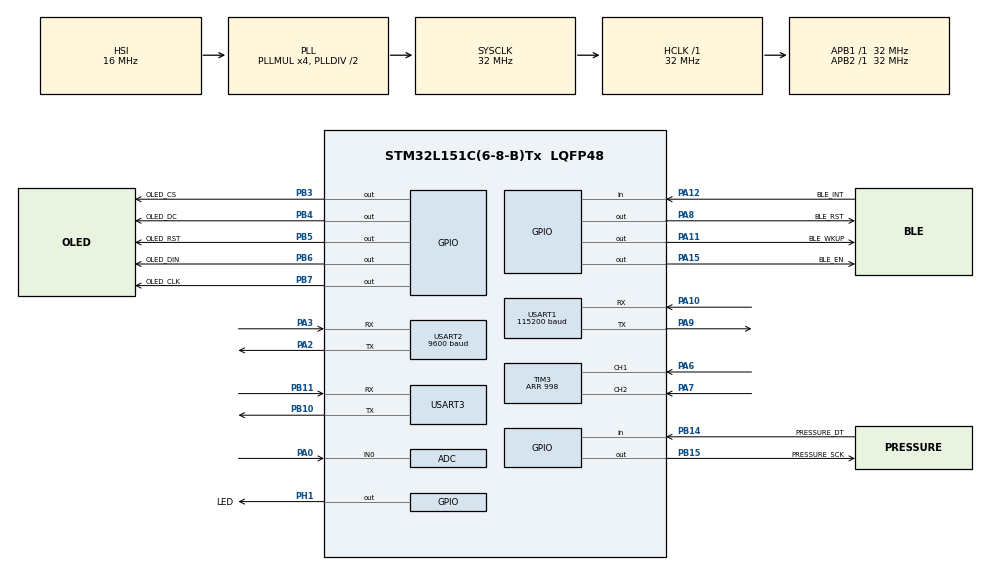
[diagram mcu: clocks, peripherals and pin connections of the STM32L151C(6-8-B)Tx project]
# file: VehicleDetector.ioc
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ADC.Channel-0\#ChannelRegularConversion=ADC_CHANNEL_0
ADC.ClockPrescaler=ADC_CLOCK_ASYNC_DIV2
ADC.ContinuousConvMode=ENABLE
ADC.DMAContinuousRequests=DISABLE
ADC.NbrOfConversionFlag=1
ADC.Rank-0\#ChannelRegularConversion=1
ADC.SamplingTime-0\#ChannelRegularConversion=ADC_SAMPLETIME_384CYCLES
ADC.ScanConvMode=ADC_SCAN_ENABLE
Dma.ADC.0.Direction=DMA_PERIPH_TO_MEMORY
Dma.ADC.0.Instance=DMA1_Channel1
Dma.ADC.0.MemDataAlignment=DMA_MDATAALIGN_HALFWORD
Dma.ADC.0.MemInc=DMA_MINC_ENABLE
Dma.ADC.0.Mode=DMA_NORMAL
Dma.ADC.0.PeriphDataAlignment=DMA_PDATAALIGN_HALFWORD
Dma.ADC.0.PeriphInc=DMA_PINC_DISABLE
Dma.ADC.0.Priority=DMA_PRIORITY_LOW
Dma.Request0=ADC
Dma.Request1=USART1_TX
Dma.Request2=USART1_RX
Dma.Request3=USART2_RX
Dma.Request4=USART2_TX
Dma.Request5=USART3_RX
Dma.Request6=USART3_TX
Dma.USART1_RX.2.Direction=DMA_PERIPH_TO_MEMORY
Dma.USART1_RX.2.Instance=DMA1_Channel5
Dma.USART1_RX.2.MemDataAlignment=DMA_MDATAALIGN_BYTE
Dma.USART1_RX.2.MemInc=DMA_MINC_ENABLE
Dma.USART1_RX.2.Mode=DMA_NORMAL
Dma.USART1_RX.2.PeriphDataAlignment=DMA_PDATAALIGN_BYTE
Dma.USART1_RX.2.PeriphInc=DMA_PINC_DISABLE
Dma.USART1_RX.2.Priority=DMA_PRIORITY_LOW
Dma.USART1_TX.1.Direction=DMA_MEMORY_TO_PERIPH
Dma.USART1_TX.1.Instance=DMA1_Channel4
Dma.USART1_TX.1.MemDataAlignment=DMA_MDATAALIGN_BYTE
Dma.USART1_TX.1.MemInc=DMA_MINC_ENABLE
Dma.USART1_TX.1.Mode=DMA_NORMAL
Dma.USART1_TX.1.PeriphDataAlignment=DMA_PDATAALIGN_BYTE
Dma.USART1_TX.1.PeriphInc=DMA_PINC_DISABLE
Dma.USART1_TX.1.Priority=DMA_PRIORITY_LOW
Dma.USART2_RX.3.Direction=DMA_PERIPH_TO_MEMORY
Dma.USART2_RX.3.Instance=DMA1_Channel6
Dma.USART2_RX.3.MemDataAlignment=DMA_MDATAALIGN_BYTE
Dma.USART2_RX.3.MemInc=DMA_MINC_ENABLE
Dma.USART2_RX.3.Mode=DMA_NORMAL
Dma.USART2_RX.3.PeriphDataAlignment=DMA_PDATAALIGN_BYTE
Dma.USART2_RX.3.PeriphInc=DMA_PINC_DISABLE
Dma.USART2_RX.3.Priority=DMA_PRIORITY_LOW
Dma.USART2_TX.4.Direction=DMA_MEMORY_TO_PERIPH
Dma.USART2_TX.4.Instance=DMA1_Channel7
Dma.USART2_TX.4.MemDataAlignment=DMA_MDATAALIGN_BYTE
Dma.USART2_TX.4.MemInc=DMA_MINC_ENABLE
Dma.USART2_TX.4.Mode=DMA_NORMAL
Dma.USART2_TX.4.PeriphDataAlignment=DMA_PDATAALIGN_BYTE
Dma.USART2_TX.4.PeriphInc=DMA_PINC_DISABLE
Dma.USART2_TX.4.Priority=DMA_PRIORITY_LOW
Dma.USART3_RX.5.Direction=DMA_PERIPH_TO_MEMORY
Dma.USART3_RX.5.Instance=DMA1_Channel3
Dma.USART3_RX.5.MemDataAlignment=DMA_MDATAALIGN_BYTE
Dma.USART3_RX.5.MemInc=DMA_MINC_ENABLE
Dma.USART3_RX.5.Mode=DMA_NORMAL
Dma.USART3_RX.5.PeriphDataAlignment=DMA_PDATAALIGN_BYTE
Dma.USART3_RX.5.PeriphInc=DMA_PINC_DISABLE
Dma.USART3_RX.5.Priority=DMA_PRIORITY_LOW
Dma.USART3_TX.6.Direction=DMA_MEMORY_TO_PERIPH
Dma.USART3_TX.6.Instance=DMA1_Channel2
Dma.USART3_TX.6.MemDataAlignment=DMA_MDATAALIGN_BYTE
Dma.USART3_TX.6.MemInc=DMA_MINC_ENABLE
Dma.USART3_TX.6.Mode=DMA_NORMAL
Dma.USART3_TX.6.PeriphDataAlignment=DMA_PDATAALIGN_BYTE
Dma.USART3_TX.6.PeriphInc=DMA_PINC_DISABLE
Dma.USART3_TX.6.Priority=DMA_PRIORITY_LOW
Mcu.Family=STM32L1
Mcu.Name=STM32L151C(6-8-B)Tx
Mcu.Package=LQFP48
NVIC.DMA1_Channel1_IRQn=true\:0\:0\:false\:false\:true\:false
NVIC.DMA1_Channel2_IRQn=true\:0\:0\:false\:false\:true\:false
NVIC.DMA1_Channel3_IRQn=true\:0\:0\:false\:false\:true\:false
NVIC.DMA1_Channel4_IRQn=true\:5\:0\:true\:false\:true\:false
NVIC.DMA1_Channel5_IRQn=true\:5\:0\:true\:false\:true\:false
NVIC.DMA1_Channel6_IRQn=true\:0\:0\:false\:false\:true\:false
NVIC.DMA1_Channel7_IRQn=true\:0\:0\:false\:false\:true\:false
NVIC.PriorityGroup=NVIC_PRIORITYGROUP_4
NVIC.TIM3_IRQn=true\:0\:0\:false\:false\:true\:true
NVIC.TIM7_IRQn=true\:0\:0\:false\:false\:true\:true
NVIC.USART1_IRQn=true\:0\:0\:false\:false\:true\:true
NVIC.USART2_IRQn=true\:0\:0\:false\:false\:true\:true
NVIC.USART3_IRQn=true\:0\:0\:false\:false\:true\:true
PA0-WKUP1.Mode=IN0
PA0-WKUP1.Signal=ADC_IN0
PA10.Mode=Asynchronous
PA10.Signal=USART1_RX
PA11.GPIO_Label=BLE_WKUP
PA11.GPIO_PuPd=GPIO_PULLUP
PA11.PinState=GPIO_PIN_RESET
PA11.Signal=GPIO_Output
PA12.GPIO_Label=BLE_INT
PA12.Signal=GPIO_Input
PA13.Mode=Serial_Wire
PA13.Signal=SYS_JTMS-SWDIO
PA14.Mode=Serial_Wire
PA14.Signal=SYS_JTCK-SWCLK
PA15.GPIO_Label=BLE_EN
PA15.Signal=GPIO_Output
PA2.Mode=Asynchronous
PA2.Signal=USART2_TX
PA3.Mode=Asynchronous
PA3.Signal=USART2_RX
PA6.GPIO_PuPd=GPIO_NOPULL
PA6.GPIO_Speed=GPIO_SPEED_FREQ_VERY_HIGH
PA6.Signal=S_TIM3_CH1
PA7.GPIO_Speed=GPIO_SPEED_FREQ_VERY_HIGH
PA7.Signal=S_TIM3_CH2
PA8.GPIO_Label=BLE_RST
PA8.PinState=GPIO_PIN_SET
PA8.Signal=GPIO_Output
PA9.Mode=Asynchronous
PA9.Signal=USART1_TX
PB10.Mode=Asynchronous
PB10.Signal=USART3_TX
PB11.Mode=Asynchronous
PB11.Signal=USART3_RX
PB14.GPIO_Label=PRESSURE_DT
PB14.Signal=GPIO_Input
PB15.GPIO_Label=PRESSURE_SCK
PB15.Signal=GPIO_Output
PB3.GPIO_Label=OLED_CS
PB3.PinState=GPIO_PIN_SET
PB3.Signal=GPIO_Output
PB4.GPIO_Label=OLED_DC
PB4.PinState=GPIO_PIN_SET
PB4.Signal=GPIO_Output
PB5.GPIO_Label=OLED_RST
PB5.PinState=GPIO_PIN_SET
PB5.Signal=GPIO_Output
PB6.GPIO_Label=OLED_DIN
PB6.PinState=GPIO_PIN_SET
PB6.Signal=GPIO_Output
PB7.GPIO_Label=OLED_CLK
PB7.PinState=GPIO_PIN_SET
PB7.Signal=GPIO_Output
PH1-OSC_OUT.GPIO_Label=LED
PH1-OSC_OUT.Signal=GPIO_Output
ProjectManager.HeapSize=0x200
ProjectManager.StackSize=0x400
ProjectManager.TargetToolchain=MDK-ARM V5
RCC.48MHZClocksFreq_Value=32000000
RCC.AHBFreq_Value=32000000
RCC.APB1Freq_Value=32000000
RCC.APB1TimFreq_Value=32000000
RCC.APB2Freq_Value=32000000
RCC.APB2TimFreq_Value=32000000
RCC.HCLKFreq_Value=32000000
RCC.HSE_VALUE=24000000
RCC.HSI_VALUE=16000000
RCC.LSE_VALUE=32768
RCC.MSI_VALUE=2097000
RCC.PLLMUL=RCC_PLL_MUL4
RCC.SYSCLKFreq_VALUE=32000000
RCC.SYSCLKSource=RCC_SYSCLKSOURCE_PLLCLK
RCC.USBOutput=32000000
RCC.VCOOutputFreq_Value=64000000
SH.S_TIM3_CH1.0=TIM3_CH1,Encoder_Interface
SH.S_TIM3_CH2.0=TIM3_CH2,Encoder_Interface
TIM3.EncoderMode=TIM_ENCODERMODE_TI12
TIM3.IC1Filter=0
TIM3.IC1Polarity=TIM_ICPOLARITY_RISING
TIM3.IC2Filter=0
TIM3.IC2Polarity=TIM_ICPOLARITY_RISING
TIM3.Period=998
TIM7.Period=499
TIM7.Prescaler=3199
USART1.BaudRate=115200
USART1.VirtualMode=VM_ASYNC
USART2.BaudRate=9600
USART2.VirtualMode=VM_ASYNC
USART3.VirtualMode=VM_ASYNC
VP_TIM7_VS_ClockSourceINT.Mode=Enable_Timer
board=VehicleDetector

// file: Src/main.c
/**
  ******************************************************************************
  * File Name          : main.c
  * Description        : Main program body
  ******************************************************************************
  ** This notice applies to any and all portions of this file
  * that are not between comment pairs USER CODE BEGIN and
  * USER CODE END. Other portions of this file, whether
  * inserted by the user or by software development tools
  * are owned by their respective copyright owners.
  *
  * COPYRIGHT(c) 2017 STMicroelectronics
  *
  * Redistribution and use in source and binary forms, with or without modification,
  * are permitted provided that the following conditions are met:
  *   1. Redistributions of source code must retain the above copyright notice,
  *      this list of conditions and the following disclaimer.
  *   2. Redistributions in binary form must reproduce the above copyright notice,
  *      this list of conditions and the following disclaimer in the documentation
  *      and/or other materials provided with the distribution.
  *   3. Neither the name of STMicroelectronics nor the names of its contributors
  *      may be used to endorse or promote products derived from this software
  *      without specific prior written permission.
  *
  * THIS SOFTWARE IS PROVIDED BY THE COPYRIGHT HOLDERS AND CONTRIBUTORS "AS IS"
  * AND ANY EXPRESS OR IMPLIED WARRANTIES, INCLUDING, BUT NOT LIMITED TO, THE
  * IMPLIED WARRANTIES OF MERCHANTABILITY AND FITNESS FOR A PARTICULAR PURPOSE ARE
  * DISCLAIMED. IN NO EVENT SHALL THE COPYRIGHT HOLDER OR CONTRIBUTORS BE LIABLE
  * FOR ANY DIRECT, INDIRECT, INCIDENTAL, SPECIAL, EXEMPLARY, OR CONSEQUENTIAL
  * DAMAGES (INCLUDING, BUT NOT LIMITED TO, PROCUREMENT OF SUBSTITUTE GOODS OR
  * SERVICES; LOSS OF USE, DATA, OR PROFITS; OR BUSINESS INTERRUPTION) HOWEVER
  * CAUSED AND ON ANY THEORY OF LIABILITY, WHETHER IN CONTRACT, STRICT LIABILITY,
  * OR TORT (INCLUDING NEGLIGENCE OR OTHERWISE) ARISING IN ANY WAY OUT OF THE USE
  * OF THIS SOFTWARE, EVEN IF ADVISED OF THE POSSIBILITY OF SUCH DAMAGE.
  *
  ******************************************************************************
  */

#include "main.h"
#include "stm32l1xx_hal.h"
#include "adc.h"
#include "dma.h"
#include "tim.h"
#include "usart.h"
#include "gpio.h"

/* USER CODE BEGIN Includes */
#include "accelerate.h"
#include "ble.h"
#include "noise.h"
#include "oled.h"
#include "pressure.h"
#include "process.h"

uint16_t huaTimeBase;
/* USER CODE END Includes */

/* USER CODE BEGIN PV */
/* Private variables ---------------------------------------------------------*/

/* USER CODE END PV */

void SystemClock_Config(void);

/* USER CODE BEGIN PFP */
/* Private function prototypes -----------------------------------------------*/

/* USER CODE END PFP */

/* USER CODE BEGIN 0 */
extern const char ChineseFont_Welcome[CHINESE_FONT_SIZE * 13];
//uint32_t value;
/* USER CODE END 0 */

int main(void)
{

  /* USER CODE BEGIN 1 */
	uint16_t i;

  /* USER CODE END 1 */

  /* MCU Configuration----------------------------------------------------------*/

  /* Reset of all peripherals, Initializes the Flash interface and the Systick. */
  HAL_Init();

  /* Configure the system clock */
  SystemClock_Config();

  /* Initialize all configured peripherals */
  MX_GPIO_Init();
  MX_DMA_Init();
  MX_ADC_Init();
  MX_USART1_UART_Init();
  MX_USART2_UART_Init();
  MX_USART3_UART_Init();
  MX_TIM7_Init();
  MX_TIM3_Init();

  /* USER CODE BEGIN 2 */
  LL_TIM_EnableIT_UPDATE(TIM7);
  LL_TIM_EnableIT_UPDATE(TIM3);

  USART2_UserInit();

  ACCELERATE_Init();
  BLE_Init();
//  PRESSURE_Init();

  OLED_Init();
	OLED_ShowChineseString(0, 2, (char*)ChineseFont_Welcome,
			sizeof(ChineseFont_Welcome) / 32);

  /* USER CODE END 2 */

  /* Infinite loop */
  while (1)
  {

  /* USER CODE BEGIN 3 */
	  BLE_Process();
	  PROCESS();
//	  NOISE_Process();
	  i++;
	  if (i > 50000)
	  {
		  i = 0;
		  HAL_GPIO_TogglePin(LED_GPIO_Port, LED_Pin);
	  }
  }
  /* USER CODE END 3 */

}

/** System Clock Configuration
*/
void SystemClock_Config(void)
{

  RCC_OscInitTypeDef RCC_OscInitStruct;
  RCC_ClkInitTypeDef RCC_ClkInitStruct;

    /**Configure the main internal regulator output voltage
    */
  __HAL_PWR_VOLTAGESCALING_CONFIG(PWR_REGULATOR_VOLTAGE_SCALE1);

    /**Initializes the CPU, AHB and APB busses clocks
    */
  RCC_OscInitStruct.OscillatorType = RCC_OSCILLATORTYPE_HSI;
  RCC_OscInitStruct.HSIState = RCC_HSI_ON;
  RCC_OscInitStruct.HSICalibrationValue = 16;
  RCC_OscInitStruct.PLL.PLLState = RCC_PLL_ON;
  RCC_OscInitStruct.PLL.PLLSource = RCC_PLLSOURCE_HSI;
  RCC_OscInitStruct.PLL.PLLMUL = RCC_PLL_MUL4;
  RCC_OscInitStruct.PLL.PLLDIV = RCC_PLL_DIV2;
  if (HAL_RCC_OscConfig(&RCC_OscInitStruct) != HAL_OK)
  {
    _Error_Handler(__FILE__, __LINE__);
  }

    /**Initializes the CPU, AHB and APB busses clocks
    */
  RCC_ClkInitStruct.ClockType = RCC_CLOCKTYPE_HCLK|RCC_CLOCKTYPE_SYSCLK
                              |RCC_CLOCKTYPE_PCLK1|RCC_CLOCKTYPE_PCLK2;
  RCC_ClkInitStruct.SYSCLKSource = RCC_SYSCLKSOURCE_PLLCLK;
  RCC_ClkInitStruct.AHBCLKDivider = RCC_SYSCLK_DIV1;
  RCC_ClkInitStruct.APB1CLKDivider = RCC_HCLK_DIV1;
  RCC_ClkInitStruct.APB2CLKDivider = RCC_HCLK_DIV1;

  if (HAL_RCC_ClockConfig(&RCC_ClkInitStruct, FLASH_LATENCY_1) != HAL_OK)
  {
    _Error_Handler(__FILE__, __LINE__);
  }

    /**Configure the Systick interrupt time
    */
  HAL_SYSTICK_Config(HAL_RCC_GetHCLKFreq()/1000);

    /**Configure the Systick
    */
  HAL_SYSTICK_CLKSourceConfig(SYSTICK_CLKSOURCE_HCLK);

  /* SysTick_IRQn interrupt configuration */
  HAL_NVIC_SetPriority(SysTick_IRQn, 0, 0);
}

void _Error_Handler(char * file, int line)
{
  while(1)
  {
  }
}

/************************ (C) COPYRIGHT STMicroelectronics *****END OF FILE****/
